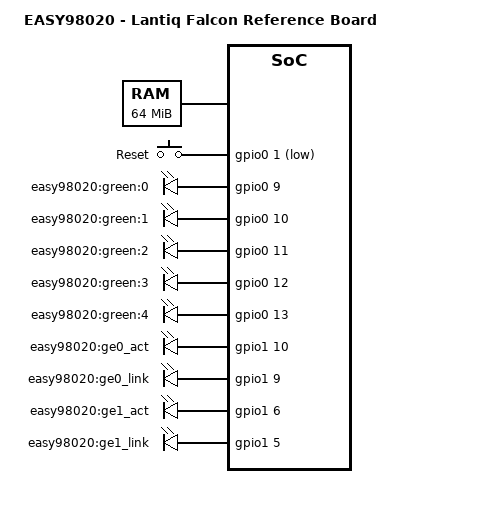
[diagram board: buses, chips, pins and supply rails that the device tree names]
/dts-v1/;

/include/ "falcon.dtsi"

/ {
	model = "EASY98020 - Lantiq Falcon Reference Board";
	compatible = "lantiq,falcon-easy98020", "lantiq,falcon";

	chosen {
		bootargs-append = "console=ttyLTQ0,115200 init=/etc/preinit";
	};

	memory@0 {
		reg = <0x0 0x4000000>;  // 64M at 0x0
	};

	gpio-keys {
		compatible = "gpio-keys";
		reset {
			label = "Reset";
			gpios = <&gpio0 1 1>; /* GPIO0.1, active low */
			linux,code = <0x100>; /* BTN_X = 0x100 + X */
		};
	};

	pinctrl {
		led_pins: phy-led-pins {
			lantiq,pins = "io42", "io41", "io38", "io37";
			lantiq,function = "gpio";
		};
	};

	easy98020-leds {
		compatible = "gpio-leds";
		pinctrl-names = "default";
		pinctrl-0 = <&bootled_pins>;

		LED_0 {
			label = "easy98020:green:0";
			gpios = <&gpio0 9 0>;
			default-state = "keep";
		};
		LED_1 {
			label = "easy98020:green:1";
			gpios = <&gpio0 10 0>;
			default-state = "keep";
		};
		LED_2 {
			label = "easy98020:green:2";
			gpios = <&gpio0 11 0>;
			default-state = "keep";
		};
		LED_3 {
			label = "easy98020:green:3";
			gpios = <&gpio0 12 0>;
			default-state = "keep";
		};
		LED_4 {
			label = "easy98020:green:4";
			gpios = <&gpio0 13 0>;
			default-state = "keep";
		};
	};

	easy98020-phy-leds {
		compatible = "gpio-leds";
		pinctrl-names = "default";
		pinctrl-0 = <&led_pins>;

		GE0_ACT {
			label = "easy98020:ge0_act";
			gpios = <&gpio1 10 0>;
			default-state = "off";
		};
		GE0_LINK {
			label = "easy98020:ge0_link";
			gpios = <&gpio1 9 0>;
			default-state = "off";
		};
		GE1_ACT {
			label = "easy98020:ge1_act";
			gpios = <&gpio1 6 0>;
			default-state = "off";
		};
		GE1_LINK {
			label = "easy98020:ge1_link";
			gpios = <&gpio1 5 0>;
			default-state = "off";
		};
	};
};

&ebu_cs0 {
	#address-cells = <1>;
	#size-cells = <1>;
	compatible = "lantiq,sflash-falcon", "simple-bus";
	busnum = <0>;

	flash@0 {
		#address-cells = <1>;
		#size-cells = <1>;
		compatible = "spansion,s25fl129p0";
		reg = <0 0>;
		linux,mtd-name = "sflash";
		spi-max-frequency = <80000000>;
		m25p,fast-read;

		partition@0 {
			reg = <0x0 0x00080000>;
			label = "SPI (RO) U-Boot Image";
			read-only;
		};

		partition@80000 {
			reg = <0x00080000 0x00080000>;
			label = "SPI (RO) DTB Image";
			read-only;
		};

		partition@100000 {
			reg = <0x00100000 0x00400000>;
			label = "SPI (RO) Linux Kernel Image";
			read-only;
		};
	};
};
